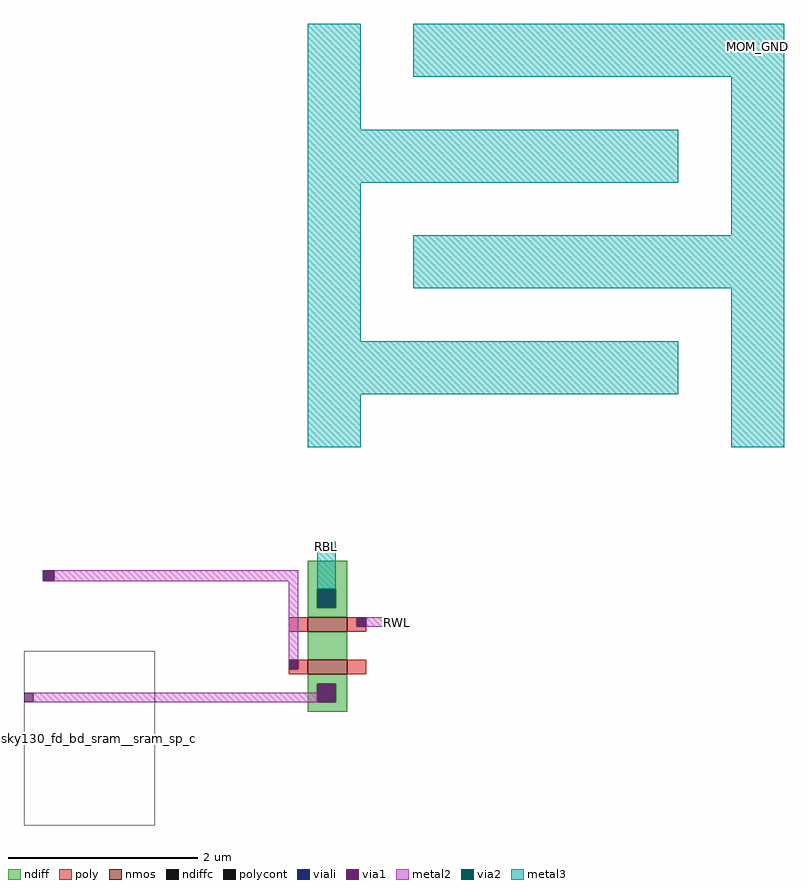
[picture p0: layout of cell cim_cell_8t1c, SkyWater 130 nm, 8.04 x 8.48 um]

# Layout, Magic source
magic
tech sky130A
magscale 1 2
<< nmos >>
rect 600 410 684 440
rect 600 320 684 350
<< ndiff >>
rect 600 500 684 560
rect 600 460 620 500
rect 660 460 684 500
rect 600 440 684 460
rect 600 350 684 410
rect 600 300 684 320
rect 600 260 620 300
rect 660 260 684 300
rect 600 240 684 260
<< ndiffc >>
rect 620 460 660 500
rect 620 260 660 300
<< poly >>
rect 560 410 600 440
rect 684 420 704 440
rect 684 410 724 420
rect 580 330 600 350
rect 560 320 600 330
rect 684 320 724 350
<< polycont >>
rect 704 420 724 440
rect 560 330 580 350
<< viali >>
rect 40 516 64 540
<< via1 >>
rect 40 516 64 540
rect 620 460 660 500
rect 704 420 724 440
rect 560 330 580 350
rect 0 260 20 280
rect 620 260 660 300
<< metal2 >>
rect 64 516 580 540
rect 560 350 580 516
rect 724 420 800 440
rect 20 260 620 280
<< via2 >>
rect 620 460 660 500
<< metal3 >>
rect 600 1472 712 1696
rect 824 1584 1608 1696
rect 600 1360 1384 1472
rect 600 1024 712 1360
rect 1496 1248 1608 1584
rect 824 1136 1608 1248
rect 600 912 1384 1024
rect 600 800 712 912
rect 1496 800 1608 1136
rect 620 500 660 600
use sky130_fd_bd_sram__sram_sp_cell_opt1  sky130_fd_bd_sram__sram_sp_cell_opt1_0 ../skywater-pdk-libs-sky130_fd_bd_sram/cells/sram_sp_cell_opt1
transform 1 0 26 0 1 26
box -26 -26 251 342
<< labels >>
rlabel metal2 780 420 800 440 1 RWL
port 1 n
rlabel metal3 620 580 660 600 1 RBL
port 2 n
rlabel metal3 1496 1600 1608 1696 1 MOM_GND
port 3 n
<< end >>
